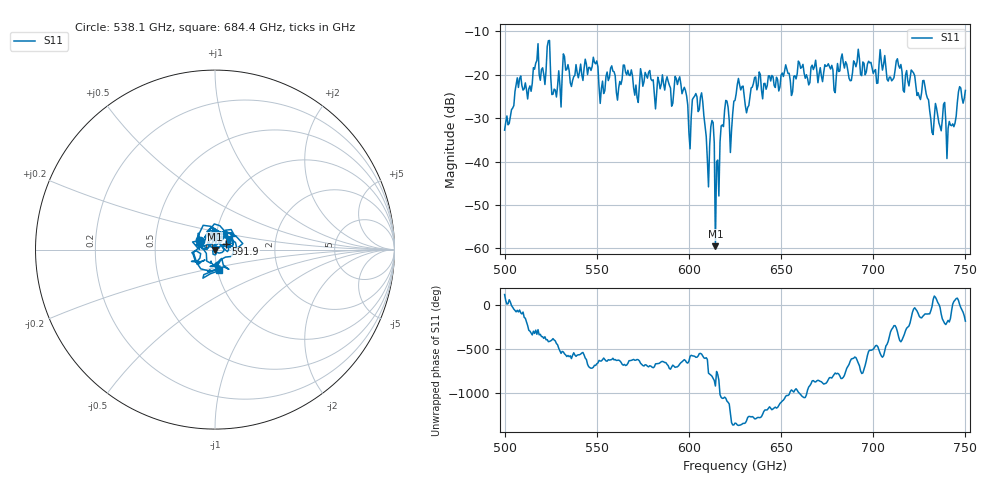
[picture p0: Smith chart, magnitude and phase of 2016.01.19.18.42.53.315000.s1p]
!Created with skrf (http://scikit-rf.org).
# GHz S RI R 50.0
!freq ReS11 ImS11
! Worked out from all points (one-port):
!   401 points, 500 GHz to 750 GHz, reference 50 ohm
!   lowest |S11| = -59.5 dB at 614.4 GHz (marker M1), VSWR 1.00, Z = 49.9 + j0.0343 ohm
!   |S11| at or under -10 dB: start of sweep to end of sweep
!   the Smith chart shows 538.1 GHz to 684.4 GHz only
!   S11 on the Smith chart (normalised r, x): 538.1 GHz: 0.84, +0.08; 591.9 GHz: 1.13, +0.07; 684.4 GHz: 1.02, -0.24
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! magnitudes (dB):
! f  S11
! 500 GHz  -32.8
! 516.9 GHz  -17.4
! 520.6 GHz  -18.4
! 523.8 GHz  -12.2
! 526.9 GHz  -23.3
! 531.2 GHz  -20.2
! 538.1 GHz  -20.2
! 549.4 GHz  -17.5
! 552.5 GHz  -23.2
! 558.8 GHz  -19.2
! 562.5 GHz  -21.6
! 591.9 GHz  -23.5
! 593.8 GHz  -22.3
! 600 GHz  -33.4
! 606.9 GHz  -24.2
! 610 GHz  -39.5
! 612.5 GHz  -30.6
! 614.4 GHz  -59.5
! 615.6 GHz  -39.7
! 618.8 GHz  -32.0
! 623.1 GHz  -32.8
! 625 GHz  -25.9
! 656.2 GHz  -24.0
! 684.4 GHz  -18.5
! 687.5 GHz  -21.4
! 718.8 GHz  -21.5
! 741.2 GHz  -30.8
! 750 GHz  -23.6
